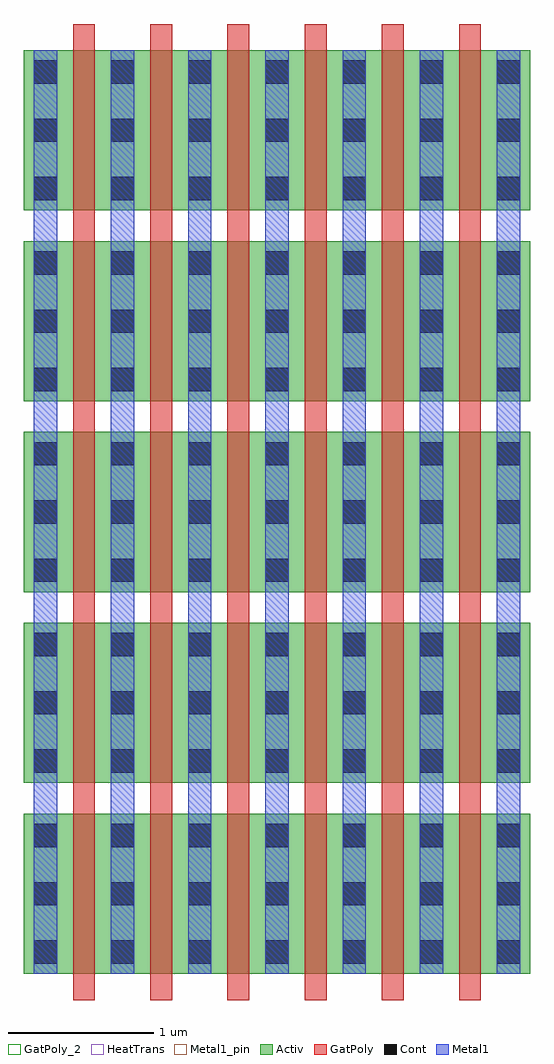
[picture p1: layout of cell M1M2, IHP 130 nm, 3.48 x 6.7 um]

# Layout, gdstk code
import gdstk
lib = gdstk.Library(unit=1e-6, precision=1e-09)
def R(c, l, rs):  # rectangles x0, y0, x1, y1
    for r in rs: c.add(gdstk.rectangle(r[:2], r[2:], *l))
def A(c, l, x, y, w, h, nx, ny, dx, dy):  # array of equal rectangles
    R(c, l, [(x+i*dx, y+j*dy, x+i*dx+w, y+j*dy+h) for i in range(nx) for j in range(ny)])
Activ = (1, 0)
GatPoly = (5, 0)
GatPoly_2 = (5, 2)
Cont = (6, 0)
Metal1 = (8, 0)
Metal1_pin = (8, 2)
HeatTrans = (51, 0)

nmos_1 = lib.new_cell('nmos$1')
R(nmos_1, Activ, [(0,0,0.3,0.3), (0,0,0.83,1.1), (0.53,0,0.83,0.3)])
R(nmos_1, GatPoly, [(0.34,-0.18,0.49,1.28)])
R(nmos_1, GatPoly_2, [(0.34,-0.18,0.49,1.28)])
A(nmos_1, Cont, 0.07, 0.07, 0.16, 0.16, 1, 3, 0, 0.4)
A(nmos_1, Cont, 0.6, 0.07, 0.16, 0.16, 1, 3, 0, 0.4)
R(nmos_1, Metal1, [(0.07,0,0.23,1.1), (0.6,0,0.76,1.1)])
R(nmos_1, Metal1_pin, [(0.07,0,0.23,1.1), (0.6,0,0.76,1.1)])
R(nmos_1, HeatTrans, [(0.34,-0.18,0.49,1.28)])
nmos_1.add(gdstk.Label('nmos', (0.415,0.55), layer=63, texttype=0))
nmos_1.add(gdstk.Label('nmos', (0.415,0.55), layer=51, texttype=0))

m1_conm1m2 = lib.new_cell('M1_conM1M2')
R(m1_conm1m2, Metal1, [(0,0,0.16,0.21)])

m1m2 = lib.new_cell('M1M2')
r = gdstk.Reference(nmos_1, (-0.425,-0.13)); r.repetition = gdstk.Repetition(6, 5, v1=(0.53,0), v2=(0,1.31)); m1m2.add(r)
r = gdstk.Reference(m1_conm1m2, (-0.355,0.97)); r.repetition = gdstk.Repetition(7, 4, v1=(0.53,0), v2=(0,1.31)); m1m2.add(r)

lib.write_gds('M1M2.gds')
